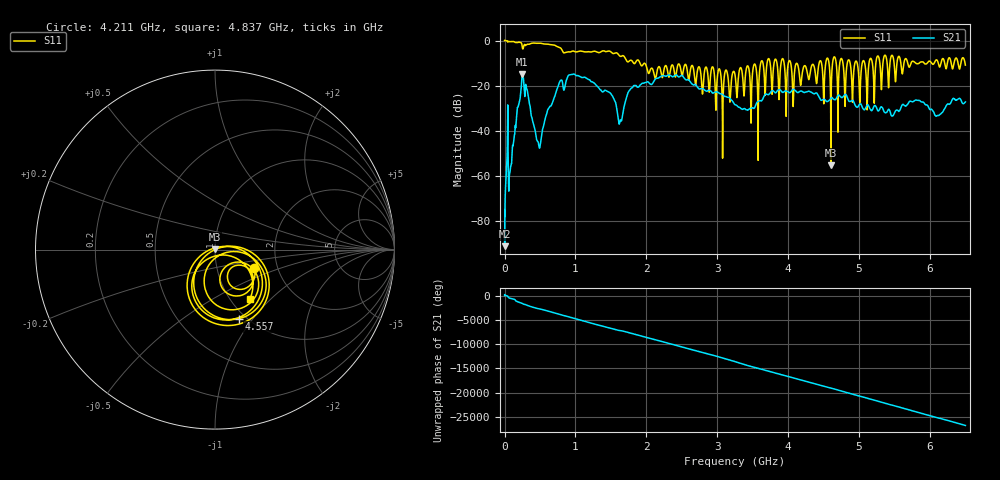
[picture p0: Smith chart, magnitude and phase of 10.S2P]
!Keysight Technologies,E5063A,MY54503115,A.05.08
!Date: Mon Mar 04 15:39:56 2024
!Data & Calibration Information:
!Freq	S11:NONE(--)	S21:NONE(--)	S12:NONE(--)	S22:NONE(--)
# Hz S dB R 50
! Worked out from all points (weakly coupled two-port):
!   10001 points, 100 kHz to 6.5 GHz, reference 50 ohm
!   highest |S21| = -14.80 dB at 249.7 MHz (marker M1); lowest = -91.1 dB at 750 kHz (marker M2)
!   lowest |S11| = -55.3 dB at 4.602 GHz (marker M3), VSWR 1.00, Z = 50.2 + j0.07 ohm
!   |S11| at or under -10 dB: 1.91 GHz to 3.612 GHz (1.703 GHz wide, 61.7 % of centre); 4.036 GHz to 4.437 GHz (400.7 MHz wide, 9.46 % of centre); 4.974 GHz to 5.044 GHz (70.69 MHz wide, 1.41 % of centre) (the widest 3 of 28)
!   S12 and S22 are empty: the file has one direction only
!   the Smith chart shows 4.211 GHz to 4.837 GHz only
!   S11 on the Smith chart (normalised r, x): 4.211 GHz: 1.51, -0.33; 4.557 GHz: 0.92, -0.85; 4.837 GHz: 1.22, -0.76
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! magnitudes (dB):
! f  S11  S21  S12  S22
! 100 kHz  0.0  -85.1  -  -
! 750 kHz  0.0  -91.1  -  -
! 38.45 MHz  -0.2  -46.1  -  -
! 85.9 MHz  -0.5  -55.8  -  -
! 249.7 MHz  -3.1  -14.8  -  -
! 483 MHz  -1.2  -46.6  -  -
! 778.1 MHz  -3.1  -18.2  -  -
! 1.084 GHz  -4.7  -16.3  -  -
! 1.495 GHz  -4.9  -23.3  -  -
! 1.63 GHz  -6.9  -35.3  -  -
! 1.79 GHz  -8.8  -21.0  -  -
! 2.167 GHz  -11.8  -16.6  -  -
! 3.25 GHz  -15.1  -28.5  -  -
! 4.211 GHz  -12.4  -22.8  -  -
! 4.334 GHz  -11.0  -23.0  -  -
! 4.557 GHz  -7.8  -26.9  -  -
! 4.602 GHz  -55.3  -25.6  -  -
! 4.651 GHz  -7.2  -26.2  -  -
! 4.7 GHz  -27.9  -24.4  -  -
! 4.837 GHz  -9.5  -25.6  -  -
! 5.417 GHz  -20.8  -30.5  -  -
! 6.5 GHz  -10.9  -27.2  -  -
